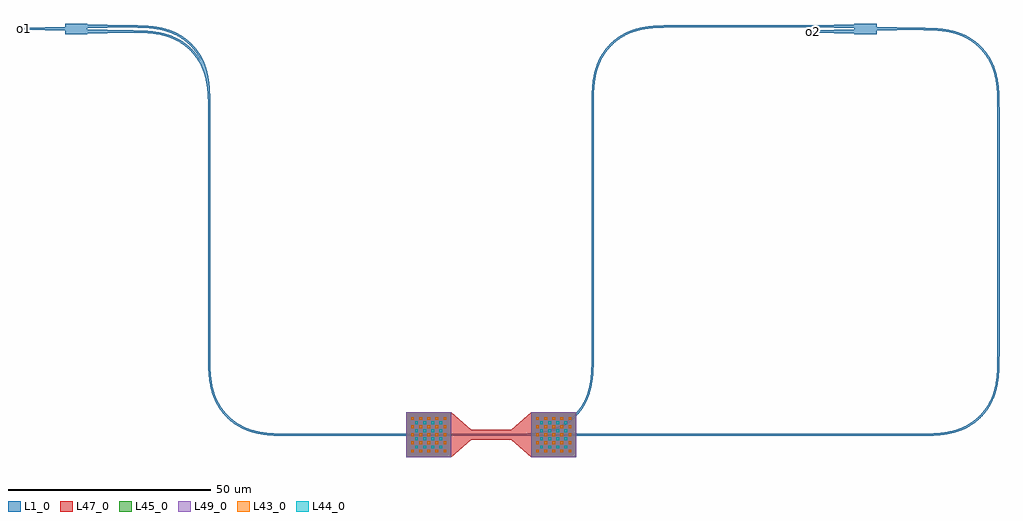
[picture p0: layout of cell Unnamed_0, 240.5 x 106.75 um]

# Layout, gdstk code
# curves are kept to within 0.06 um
from math import pi, radians
import gdstk
lib = gdstk.Library(unit=1e-6, precision=1e-09)
def R(c, l, rs):  # rectangles x0, y0, x1, y1
    for r in rs: c.add(gdstk.rectangle(r[:2], r[2:], *l))
def A(c, l, x, y, w, h, nx, ny, dx, dy):  # array of equal rectangles
    R(c, l, [(x+i*dx, y+j*dy, x+i*dx+w, y+j*dy+h) for i in range(nx) for j in range(ny)])
def P(c, l, *ps):  # polygons
    for p in ps: c.add(gdstk.Polygon(p, *l))
L1_0 = (1, 0)
L43_0 = (43, 0)
L44_0 = (44, 0)
L45_0 = (45, 0)
L47_0 = (47, 0)
L49_0 = (49, 0)

mmi1x2_wnone_wt1_lt10_l_ = lib.new_cell('mmi1x2_WNone_WT1_LT10_L_4e0f7121')
P(mmi1x2_wnone_wt1_lt10_l_, L1_0, [(0,-1.25),(0,-0.5),(-10,-0.25),(-10,0.25),(0,0.5),(0,1.25),(5.5,1.25),(5.5,1.125),(15.5,0.875),(15.5,0.375),(5.5,0.125),(5.5,-0.125),(15.5,-0.375),(15.5,-0.875),(5.5,-1.125),(5.5,-1.25)])

straight_heater_metal_u_ = lib.new_cell('straight_heater_metal_u_385113d0')
R(straight_heater_metal_u_, L1_0, [(0,-0.25,10,0.25)])
A(straight_heater_metal_u_, L43_0, -14.75, -4.35, 0.7, 0.7, 5, 5, 2, 2)
A(straight_heater_metal_u_, L43_0, 16.05, -4.35, 0.7, 0.7, 5, 5, 2, 2)
A(straight_heater_metal_u_, L44_0, -13.75, -3.35, 0.7, 0.7, 4, 4, 2, 2)
A(straight_heater_metal_u_, L44_0, 17.05, -3.35, 0.7, 0.7, 4, 4, 2, 2)
R(straight_heater_metal_u_, L45_0, [(-15.9,-5.5,-4.9,5.5), (14.9,-5.5,25.9,5.5)])
P(straight_heater_metal_u_, L47_0, [(-15.9,-5.5),(-15.9,5.5),(-4.9,5.5),(0.1,1.25),(9.9,1.25),(14.9,5.5),(25.9,5.5),(25.9,-5.5),(14.9,-5.5),(9.9,-1.25),(0.1,-1.25),(-4.9,-5.5)])
R(straight_heater_metal_u_, L49_0, [(-15.9,-5.5,-4.9,5.5), (14.9,-5.5,25.9,5.5)])

bend_euler_r20_a90_p0p5_ = lib.new_cell('bend_euler_R20_A90_P0p5_b207852f')
P(bend_euler_r20_a90_p0p5_, L1_0, [(0,-0.25),(0,0.25),(3.237,0.286),(5.516,0.43),(7.635,0.732),(9.702,1.255),(11.313,1.88),(12.72,2.627),(14.032,3.532),(15.232,4.58),(16.386,5.864),(17.373,7.28),(18.12,8.687),(18.745,10.298),(19.268,12.365),(19.57,14.484),(19.714,16.763),(19.75,20),(20.25,20),(20.209,16.61),(20.054,14.299),(19.785,12.405),(19.342,10.539),(18.742,8.856),(17.941,7.257),(16.947,5.77),(15.68,4.32),(14.23,3.053),(12.743,2.059),(11.144,1.258),(9.461,0.658),(7.595,0.215),(5.701,-0.054),(3.39,-0.209)])

straight_l60p625_n2_css_ = lib.new_cell('straight_L60p625_N2_CSs_055fff63')
R(straight_l60p625_n2_css_, L1_0, [(0,-0.25,60.625,0.25)])

straight_l44p5_n2_csstri = lib.new_cell('straight_L44p5_N2_CSstrip_WNone')
R(straight_l44p5_n2_csstri, L1_0, [(0,-0.25,44.5,0.25)])

straight_l59p375_n2_css_ = lib.new_cell('straight_L59p375_N2_CSs_751ed858')
R(straight_l59p375_n2_css_, L1_0, [(0,-0.25,59.375,0.25)])

straight_l34p5_n2_csstri = lib.new_cell('straight_L34p5_N2_CSstrip_WNone')
R(straight_l34p5_n2_csstri, L1_0, [(0,-0.25,34.5,0.25)])

straight_l100_n2_csstrip = lib.new_cell('straight_L100_N2_CSstrip_WNone')
R(straight_l100_n2_csstrip, L1_0, [(0,-0.25,100,0.25)])

straight_l60_n2_csstrip_ = lib.new_cell('straight_L60_N2_CSstrip_WNone')
R(straight_l60_n2_csstrip_, L1_0, [(0,-0.25,60,0.25)])

unnamed_0 = lib.new_cell('Unnamed_0')
P(unnamed_0, L1_0, [(-10,-0.25),(-10.25,0),(-10.062,0.188),(-10.025,0.188),(-10.215,0),(-10.025,0),(-10.025,0.188),(-10.062,0.188),(-10,0.25)],
  [(184.5,-0.875),(184.25,-0.625),(184.438,-0.437),(184.475,-0.437),(184.285,-0.625),(184.475,-0.625),(184.475,-0.437),(184.438,-0.437),(184.5,-0.375)])
unnamed_0.add(gdstk.Reference(mmi1x2_wnone_wt1_lt10_l_, (0,0)))
unnamed_0.add(gdstk.Reference(straight_heater_metal_u_, (100,-100)))
unnamed_0.add(gdstk.Reference(mmi1x2_wnone_wt1_lt10_l_, (200,0), rotation=pi, x_reflection=True))
unnamed_0.add(gdstk.Reference(bend_euler_r20_a90_p0p5_, (35.5,-19.375), rotation=pi/2))
unnamed_0.add(gdstk.Reference(bend_euler_r20_a90_p0p5_, (55.5,-100), rotation=pi, x_reflection=True))
unnamed_0.add(gdstk.Reference(straight_l60p625_n2_css_, (35.5,-80), rotation=pi/2))
unnamed_0.add(gdstk.Reference(straight_l44p5_n2_csstri, (55.5,-100)))
unnamed_0.add(gdstk.Reference(bend_euler_r20_a90_p0p5_, (35.5,-20.625), rotation=pi/2))
unnamed_0.add(gdstk.Reference(bend_euler_r20_a90_p0p5_, (55.5,-100), rotation=pi, x_reflection=True))
unnamed_0.add(gdstk.Reference(straight_l59p375_n2_css_, (35.5,-80), rotation=pi/2))
unnamed_0.add(gdstk.Reference(straight_l44p5_n2_csstri, (55.5,-100)))
unnamed_0.add(gdstk.Reference(bend_euler_r20_a90_p0p5_, (130,-80), rotation=3*pi/2, x_reflection=True))
unnamed_0.add(gdstk.Reference(bend_euler_r20_a90_p0p5_, (150,0.625), rotation=pi))
unnamed_0.add(gdstk.Reference(straight_l60p625_n2_css_, (130,-19.375), rotation=3*pi/2))
unnamed_0.add(gdstk.Reference(straight_l34p5_n2_csstri, (150,0.625)))
unnamed_0.add(gdstk.Reference(bend_euler_r20_a90_p0p5_, (230,-80), rotation=3*pi/2, x_reflection=True))
unnamed_0.add(gdstk.Reference(straight_l100_n2_csstrip, (210,-100), rotation=pi))
unnamed_0.add(gdstk.Reference(bend_euler_r20_a90_p0p5_, (210,0), x_reflection=True))
unnamed_0.add(gdstk.Reference(straight_l60_n2_csstrip_, (230,-20), rotation=3*pi/2))
unnamed_0.add(gdstk.Label('o1', (-10,0), layer=1, texttype=0))
unnamed_0.add(gdstk.Label('o2', (184.5,-0.625), layer=1, texttype=0))

lib.write_gds('Unnamed_0.gds')
